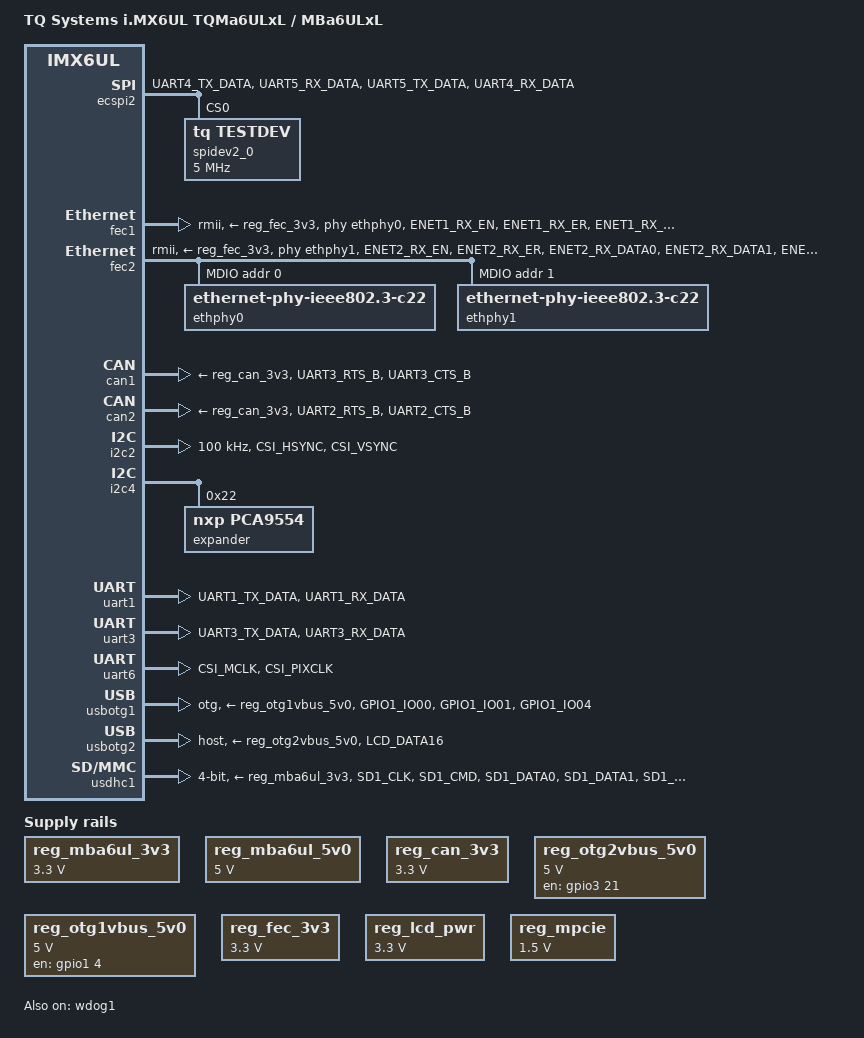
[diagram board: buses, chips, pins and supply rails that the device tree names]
/*
 * Copyright 2016 Marco Felsch, TQ Systems GmbH
 *
 * The code contained herein is licensed under the GNU General Public
 * License. You may obtain a copy of the GNU General Public License
 * Version 2 or later at the following locations:
 *
 * http://www.opensource.org/licenses/gpl-license.html
 * http://www.gnu.org/copyleft/gpl.html
 */

/dts-v1/;

#include <dt-bindings/input/input.h>
#include "imx6ul-tqma6ulx.dtsi"

/ {
	model = "TQ Systems i.MX6UL TQMa6ULxL / MBa6ULxL";
	compatible = "tqc,imx6ul-mba6ulxl", "fsl,imx6ul";

	aliases {
		mmc1 = &usdhc1;
		mmc0 = &usdhc2;
	};

	chosen {
		stdout-path = &uart1;
	};

	regulators {
		compatible = "simple-bus";
		#address-cells = <1>;
		#size-cells = <0>;

		reg_mba6ul_3v3: regulator@0 {
			compatible = "regulator-fixed";
			regulator-name = "supply-mba6ul-3v3";
			reg = <0>;
			regulator-min-microvolt = <3300000>;
			regulator-max-microvolt = <3300000>;
			regulator-always-on;
		};

		reg_mba6ul_5v0: regulator@1 {
			compatible = "regulator-fixed";
			regulator-name = "supply-mba6ul-5v0";
			reg = <1>;
			regulator-min-microvolt = <5000000>;
			regulator-max-microvolt = <5000000>;
			regulator-always-on;
		};

		reg_can_3v3: regulator@2 {
			compatible = "regulator-fixed";
			regulator-name = "can-3v3";
			reg = <2>;
			regulator-min-microvolt = <3300000>;
			regulator-max-microvolt = <3300000>;
			regulator-always-on;
			vin_supply = <&reg_mba6ul_3v3>;
		};

		reg_otg2vbus_5v0: regulator@3 {
			compatible = "regulator-fixed";
			reg = <3>;
			gpio = <&gpio3 21 GPIO_ACTIVE_HIGH>;
			enable-active-high;
			regulator-name = "otg2-vbus-supply-5v0";
			regulator-min-microvolt = <5000000>;
			regulator-max-microvolt = <5000000>;
			vin_supply = <&reg_mba6ul_5v0>;
		};

		reg_otg1vbus_5v0: regulator@4 {
			compatible = "regulator-fixed";
			reg = <4>;
			gpio = <&gpio1 4 GPIO_ACTIVE_HIGH>;
			enable-active-high;
			regulator-name = "otg1-vbus-supply-5v0";
			regulator-min-microvolt = <5000000>;
			regulator-max-microvolt = <5000000>;
			vin_supply = <&reg_mba6ul_5v0>;
		};

		reg_fec_3v3: regulator@5 {
			compatible = "regulator-fixed";
			regulator-name = "fec-3v3";
			reg = <5>;
			regulator-min-microvolt = <3300000>;
			regulator-max-microvolt = <3300000>;
			regulator-always-on;
			vin_supply = <&reg_mba6ul_3v3>;
		};

		reg_lcd_pwr: regulator@6 {
			compatible = "regulator-fixed";
			regulator-name = "lcd-pwr";
			pinctrl-names = "default";
			reg = <6>;
			/* gpio = <&gpio1 2 GPIO_ACTIVE_HIGH>; */
			enable-active-high;
			/* always on -> VIO for STMPE, otherwise I2C stall */
			regulator-always-on;
			regulator-min-microvolt = <3300000>;
			regulator-max-microvolt = <3300000>;
			vin_supply = <&reg_mba6ul_3v3>;
		};

		reg_mpcie: regulator@7 {
			compatible = "regulator-fixed";
			pinctrl-names = "default";
			regulator-name = "mpcie-1v5";
			reg = <7>;
			/* gpio = <&gpio1 3 GPIO_ACTIVE_HIGH>; */
			enable-active-high;
			regulator-min-microvolt = <1500000>;
			regulator-max-microvolt = <1500000>;
			vin_supply = <&reg_mba6ul_3v3>;
		};
	};

	reserved-memory {
		#address-cells = <1>;
		#size-cells = <1>;
		ranges;

		linux,cma {
			compatible = "shared-dma-pool";
			reusable;
			size = <0x6000000>;
			linux,cma-default;
		};
	};
};

&ecspi2 {
	pinctrl-names = "default";
	pinctrl-0 = <&pinctrl_ecspi2>;
	fsl,spi-num-chipselects = <1>;
	status = "okay";

	spidev2_0: spidev2-0@0 {
		compatible = "tq,testdev";
		spi-max-frequency = <5000000>;
		reg = <0>;
		status = "okay";
	};
};

&fec1 {
	pinctrl-names = "default";
	pinctrl-0 = <&pinctrl_enet1>;
	phy-mode = "rmii";
	phy-handle = <&ethphy0>;
	phy-supply = <&reg_fec_3v3>;
	phy-reset-gpios = <&expander 0 GPIO_ACTIVE_LOW>;
	phy-reset-duration = <26>;
	status = "okay";
};

&fec2 {
	pinctrl-names = "default";
	pinctrl-0 = <&pinctrl_enet2>;
	phy-mode = "rmii";
	phy-handle = <&ethphy1>;
	phy-supply = <&reg_fec_3v3>;
	phy-reset-gpios = <&expander 1 GPIO_ACTIVE_LOW>;
	phy-reset-duration = <26>;
	status = "okay";

	mdio {
		#address-cells = <1>;
		#size-cells = <0>;

		ethphy0: ethernet-phy@0 {
			compatible = "ethernet-phy-ieee802.3-c22";
			max-speed = <100>;
			reg = <0>;
		};

		ethphy1: ethernet-phy@1 {
			compatible = "ethernet-phy-ieee802.3-c22";
			max-speed = <100>;
			reg = <1>;
		};
	};
};

&flash0 {
	uboot@0 {
		label = "U-Boot";
		reg = <0x0 0xd0000>;
	};

	env1@d0000 {
		label = "ENV1";
		reg = <0xd0000 0x10000>;
	};

	env2@e0000 {
		label = "ENV2";
		reg = <0xe0000 0x10000>;
	};

	dtb@f0000 {
		label = "DTB";
		reg = <0xf0000 0x10000>;
	};

	linux@100000 {
		label = "Linux";
		reg = <0x100000 0x700000>;
	};

	rootfs@800000 {
		label = "RootFS";
		reg = <0x800000 0x3800000>;
	};
};

&can1 {
	pinctrl-names = "default";
	pinctrl-0 = <&pinctrl_flexcan1>;
	xceiver-supply = <&reg_can_3v3>;
	status = "okay";
};

&can2 {
	pinctrl-names = "default";
	pinctrl-0 = <&pinctrl_flexcan2>;
	xceiver-supply = <&reg_can_3v3>;
	status = "okay";
};

&i2c2 {
	clock-frequency = <100000>;
	pinctrl-names = "default";
	pinctrl-0 = <&pinctrl_i2c2>;
	status = "okay";
};

&i2c4 {
	/* port expander */
	expander: pca9554@22 {
		compatible = "nxp,pca9554";
		reg = <0x22>;
		gpio-controller;
		#gpio-cells = <2>;
		status = "okay";

		boot_cfg_en {
			gpio-hog;
			gpios = <2>;
			output-high;
			line-name = "boot_cfg_en";
		};
	};

	analog_touch: stmpe811@41 {
		pinctrl-names = "default";
		pinctrl-0 = <&pinctrl_analog_touch>;
		compatible = "st,stmpe811";
		reg = <0x41>;
		interrupts = <3 IRQ_TYPE_EDGE_FALLING>;
		interrupt-parent = <&gpio1>;
		interrupt-controller;
		status = "disabled";

		stmpe_touchscreen {
			compatible = "st,stmpe-ts";
			st,adc-freq = <1>;      /* 3.25 MHz ADC clock speed */
			st,ave-ctrl = <3>;      /* 8 sample average control */
			st,fraction-z = <7>;    /* 7 length fractional part in z */
			/*
			 * 50 mA typical 80 mA max touchscreen drivers
			 * current limit value
			 */
			st,i-drive = <1>;
			st,mod-12b = <1>;       /* 12-bit ADC */
			st,ref-sel = <0>;       /* internal ADC reference */
			st,sample-time = <4>;   /* ADC converstion time: 80 clocks */
			st,settling = <3>;      /* 1 ms panel driver settling time */
			st,touch-det-delay = <5>; /* 5 ms touch detect interrupt delay */
		};
	};
};

&iomuxc {
	pinctrl-names = "default";
	pinctrl-0 = <&pinctrl_hog_mba6ulxl>;

	imx6ul-mba6ulxl {
		pinctrl_analog_touch: analogtouchgrp {
			fsl,pins = <
				MX6UL_PAD_GPIO1_IO03__GPIO1_IO03	0x4001b020
			>;
		};

		pinctrl_ecspi2: ecspi2grp {
			fsl,pins = <
				MX6UL_PAD_UART4_TX_DATA__ECSPI2_SCLK	0x1b020
				MX6UL_PAD_UART5_RX_DATA__ECSPI2_MISO	0x1b020
				MX6UL_PAD_UART5_TX_DATA__ECSPI2_MOSI	0x1b020
				MX6UL_PAD_UART4_RX_DATA__ECSPI2_SS0	0x1b020
			>;
		};

		pinctrl_enet1: enet1grp {
			fsl,pins = <
				MX6UL_PAD_ENET1_RX_EN__ENET1_RX_EN	0x1b0b0
				MX6UL_PAD_ENET1_RX_ER__ENET1_RX_ER	0x1b0b0
				MX6UL_PAD_ENET1_RX_DATA0__ENET1_RDATA00	0x1b0b0
				MX6UL_PAD_ENET1_RX_DATA1__ENET1_RDATA01	0x1b0b0
				MX6UL_PAD_ENET1_TX_DATA0__ENET1_TDATA00	0x1b0b0
				MX6UL_PAD_ENET1_TX_DATA1__ENET1_TDATA01	0x1b0b0
				MX6UL_PAD_ENET1_TX_EN__ENET1_TX_EN	0x1b0b0
				MX6UL_PAD_ENET1_TX_CLK__ENET1_REF_CLK1	0x4001b0a8
			>;
		};

		pinctrl_enet2: enet2grp {
			fsl,pins = <
				MX6UL_PAD_ENET2_RX_EN__ENET2_RX_EN	0x1b0b0
				MX6UL_PAD_ENET2_RX_ER__ENET2_RX_ER	0x1b0b0
				MX6UL_PAD_ENET2_RX_DATA0__ENET2_RDATA00	0x1b0b0
				MX6UL_PAD_ENET2_RX_DATA1__ENET2_RDATA01	0x1b0b0
				MX6UL_PAD_ENET2_TX_DATA0__ENET2_TDATA00	0x1b0a0
				MX6UL_PAD_ENET2_TX_DATA1__ENET2_TDATA01	0x1b0a0
				MX6UL_PAD_ENET2_TX_EN__ENET2_TX_EN	0x1b0b0
				MX6UL_PAD_ENET2_TX_CLK__ENET2_REF_CLK2	0x4001b0a8
				/* mdio */
				MX6UL_PAD_GPIO1_IO07__ENET2_MDC		0x1b0b0
				MX6UL_PAD_GPIO1_IO06__ENET2_MDIO	0x1b0b0
			>;
		};

		pinctrl_flexcan1: flexcan1grp {
			fsl,pins = <
				MX6UL_PAD_UART3_RTS_B__FLEXCAN1_RX	0x1b020
				MX6UL_PAD_UART3_CTS_B__FLEXCAN1_TX	0x1b020
			>;
		};

		pinctrl_flexcan2: flexcan2grp {
			fsl,pins = <
				MX6UL_PAD_UART2_RTS_B__FLEXCAN2_RX	0x1b020
				MX6UL_PAD_UART2_CTS_B__FLEXCAN2_TX	0x1b020
			>;
		};

		pinctrl_hog_mba6ulxl: hogmba6ulxlgrp {
			fsl,pins = <
				MX6UL_PAD_CSI_DATA00__GPIO4_IO21	0x4001b020
				MX6UL_PAD_CSI_DATA01__GPIO4_IO22	0x4001b020
				MX6UL_PAD_CSI_DATA02__GPIO4_IO23	0x4001b020
				MX6UL_PAD_CSI_DATA03__GPIO4_IO24	0x4001b020
				MX6UL_PAD_CSI_DATA04__GPIO4_IO25	0x4001b020
				MX6UL_PAD_CSI_DATA05__GPIO4_IO26	0x4001b020
				MX6UL_PAD_CSI_DATA06__GPIO4_IO27	0x4001b020
				MX6UL_PAD_CSI_DATA07__GPIO4_IO28	0x4001b020
			>;
		};

		pinctrl_i2c2: i2c2grp {
			fsl,pins = <
				MX6UL_PAD_CSI_HSYNC__I2C2_SCL		0x4001b8b0
				MX6UL_PAD_CSI_VSYNC__I2C2_SDA		0x4001b8b0
			>;
		};

		pinctrl_pwm4: pwm4grp {
			fsl,pins = <
				/* 100 k PD, DSE 120 OHM, SPPEED LO */
				MX6UL_PAD_GPIO1_IO05__PWM4_OUT		0x00003050
			>;
		};

/*
		pinctrl_regdisp3v3: regdisp3v3grp {
			fsl,pins = <
				MX6UL_PAD_GPIO1_IO02__GPIO1_IO02	0x4001b020
			>;
		};
*/

		pinctrl_uart1: uart1grp {
			fsl,pins = <
				MX6UL_PAD_UART1_TX_DATA__UART1_DCE_TX	0x1b0b1
				MX6UL_PAD_UART1_RX_DATA__UART1_DCE_RX	0x1b0b1
			>;
		};

		pinctrl_uart3: uart3grp {
			fsl,pins = <
				MX6UL_PAD_UART3_TX_DATA__UART3_DCE_TX	0x1b0b1
				MX6UL_PAD_UART3_RX_DATA__UART3_DCE_RX	0x1b0b1
			>;
		};

		pinctrl_uart6: uart6grp {
			fsl,pins = <
				MX6UL_PAD_CSI_MCLK__UART6_DCE_TX	0x1b0b1
				MX6UL_PAD_CSI_PIXCLK__UART6_DCE_RX	0x1b0b1
			>;
		};

		pinctrl_usb_otg1: usbotg1grp {
			fsl,pins = <
				MX6UL_PAD_GPIO1_IO00__ANATOP_OTG1_ID	0x00017059
				MX6UL_PAD_GPIO1_IO01__USB_OTG1_OC	0x0001b0b0
				/* PWR */
				MX6UL_PAD_GPIO1_IO04__GPIO1_IO04	0x0001b099
			>;
		};

		pinctrl_usb_otg2: usbotg2grp {
			fsl,pins = <
				/* reset */
				MX6UL_PAD_LCD_DATA16__GPIO3_IO21	0x0001b099
			>;
		};

		pinctrl_usdhc1: usdhc1grp {
			fsl,pins = <
				MX6UL_PAD_SD1_CLK__USDHC1_CLK		0x00017069
				MX6UL_PAD_SD1_CMD__USDHC1_CMD		0x00017059
				MX6UL_PAD_SD1_DATA0__USDHC1_DATA0	0x00017059
				MX6UL_PAD_SD1_DATA1__USDHC1_DATA1	0x00017059
				MX6UL_PAD_SD1_DATA2__USDHC1_DATA2	0x00017059
				MX6UL_PAD_SD1_DATA3__USDHC1_DATA3	0x00017059
				/* CD */
				MX6UL_PAD_UART1_RTS_B__GPIO1_IO19		0x0001b099
			>;
		};

		pinctrl_usdhc1_100mhz: usdhc1grp100mhz {
			fsl,pins = <
				MX6UL_PAD_SD1_CLK__USDHC1_CLK		0x00017069
				MX6UL_PAD_SD1_CMD__USDHC1_CMD		0x000170b9
				MX6UL_PAD_SD1_DATA0__USDHC1_DATA0	0x000170b9
				MX6UL_PAD_SD1_DATA1__USDHC1_DATA1	0x000170b9
				MX6UL_PAD_SD1_DATA2__USDHC1_DATA2	0x000170b9
				MX6UL_PAD_SD1_DATA3__USDHC1_DATA3	0x000170b9
				/* CD */
				MX6UL_PAD_UART1_RTS_B__GPIO1_IO19		0x0001b099
			>;
		};

		pinctrl_usdhc1_200mhz: usdhc1grp200mhz {
			fsl,pins = <
				MX6UL_PAD_SD1_CLK__USDHC1_CLK		0x00017069
				MX6UL_PAD_SD1_CMD__USDHC1_CMD		0x000170f9
				MX6UL_PAD_SD1_DATA0__USDHC1_DATA0	0x000170f9
				MX6UL_PAD_SD1_DATA1__USDHC1_DATA1	0x000170f9
				MX6UL_PAD_SD1_DATA2__USDHC1_DATA2	0x000170f9
				MX6UL_PAD_SD1_DATA3__USDHC1_DATA3	0x000170f9
				/* CD */
				MX6UL_PAD_UART1_RTS_B__GPIO1_IO19		0x0001b099
			>;
		};

		pinctrl_wdog1: wdog1grp {
			fsl,pins = <
				MX6UL_PAD_GPIO1_IO08__WDOG1_WDOG_B	0x0001b099
			>;
		};
	};
};

&pwm4 {
	pinctrl-names = "default";
	pinctrl-0 = <&pinctrl_pwm4>;
	clocks = <&clks IMX6UL_CLK_PWM4>,
		 <&clks IMX6UL_CLK_PWM4>;
	clock-names = "ipg", "per";
	status = "disabled";
};

&uart1 {
	pinctrl-names = "default";
	pinctrl-0 = <&pinctrl_uart1>;
	status = "okay";
};

&uart3 {
	pinctrl-names = "default";
	pinctrl-0 = <&pinctrl_uart3>;
	status = "okay";
};

&uart6 {
	pinctrl-names = "default";
	pinctrl-0 = <&pinctrl_uart6>;
	status = "okay";
};

/* otg-port */
&usbotg1 {
	pinctrl-names = "default";
	pinctrl-0 = <&pinctrl_usb_otg1>;
	vbus-supply = <&reg_otg1vbus_5v0>;
	dr_mode = "otg";
	status = "okay";
};

/* 7-port usb hub */
/* id, pwr, oc pins not connected */
&usbotg2 {
	pinctrl-names = "default";
	pinctrl-0 = <&pinctrl_usb_otg2>;
	disable-over-current;
	vbus-supply = <&reg_otg2vbus_5v0>;
	dr_mode = "host";
	status = "okay";
};

&usdhc1 {
	pinctrl-names = "default";
	pinctrl-0 = <&pinctrl_usdhc1>;
	cd-gpios = <&gpio1 19 GPIO_ACTIVE_LOW>;
	disable-wp;
	bus-width = <4>;
	vmmc-supply = <&reg_mba6ul_3v3>;
	vqmmc-supply = <&reg_vccsd>;
	no-1-8-v;
	status = "okay";
};

&wdog1 {
	pinctrl-names = "default";
	pinctrl-0 = <&pinctrl_wdog1>;
	fsl,wdog_b;
	status = "okay";
};
